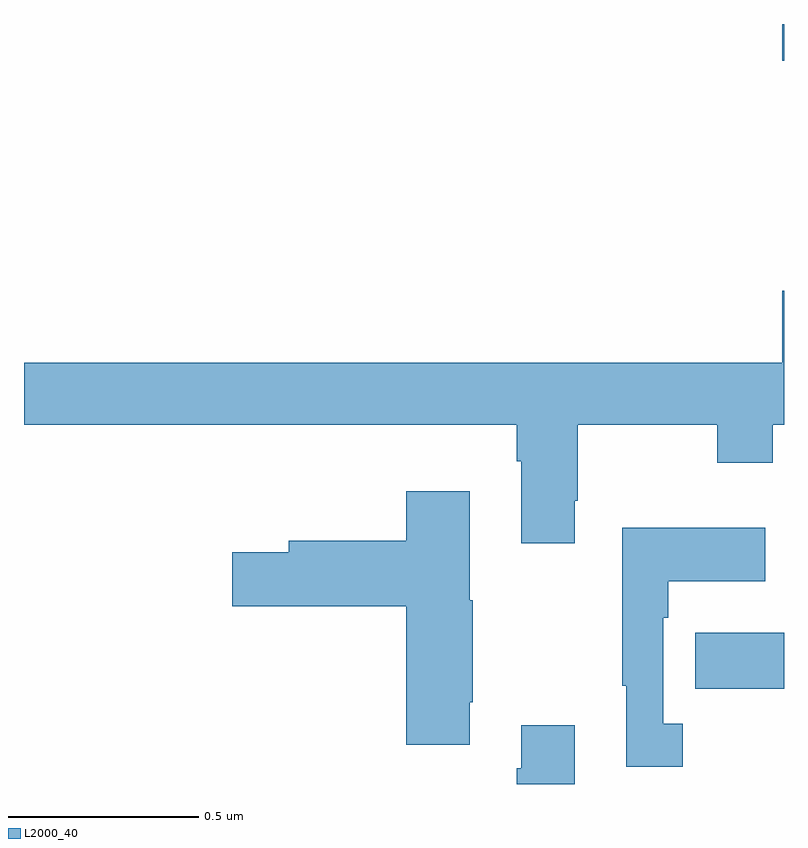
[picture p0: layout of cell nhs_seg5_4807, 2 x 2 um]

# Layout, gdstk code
import gdstk
lib = gdstk.Library(unit=1e-6, precision=1e-09)
def R(c, l, rs):  # rectangles x0, y0, x1, y1
    for r in rs: c.add(gdstk.rectangle(r[:2], r[2:], *l))
def P(c, l, *ps):  # polygons
    for p in ps: c.add(gdstk.Polygon(p, *l))
L2000_40 = (2000, 40)

nhs_seg5_4807 = lib.new_cell('nhs_seg5_4807')
R(nhs_seg5_4807, L2000_40, [(176.767,872.05,177,872.197), (176.996,873.702,177,873.799)])
P(nhs_seg5_4807, L2000_40, [(176.449,872.545),(176.457,872.545),(176.457,872.744),(176.824,872.744),(176.824,872.645),(176.97,872.645),(176.97,872.744),(177,872.744),(177,873.097),(176.996,873.097),(176.996,872.908),(175,872.908),(175,872.744),(176.297,872.744),(176.297,872.648),(176.309,872.648),(176.309,872.433),(176.449,872.433)],
  [(176.173,872.014),(176.181,872.014),(176.181,872.283),(176.173,872.283),(176.173,872.569),(176.006,872.569),(176.006,872.439),(175.697,872.439),(175.697,872.409),(175.548,872.409),(175.548,872.267),(176.006,872.267),(176.006,871.902),(176.173,871.902)],
  [(176.734,871.958),(176.682,871.958),(176.682,872.237),(176.695,872.237),(176.695,872.333),(176.951,872.333),(176.951,872.473),(176.574,872.473),(176.574,872.057),(176.585,872.057),(176.585,871.845),(176.734,871.845)],
  [(176.449,871.954),(176.309,871.954),(176.309,871.841),(176.297,871.841),(176.297,871.799),(176.449,871.799)])

lib.write_gds('nhs_seg5_4807.gds')
